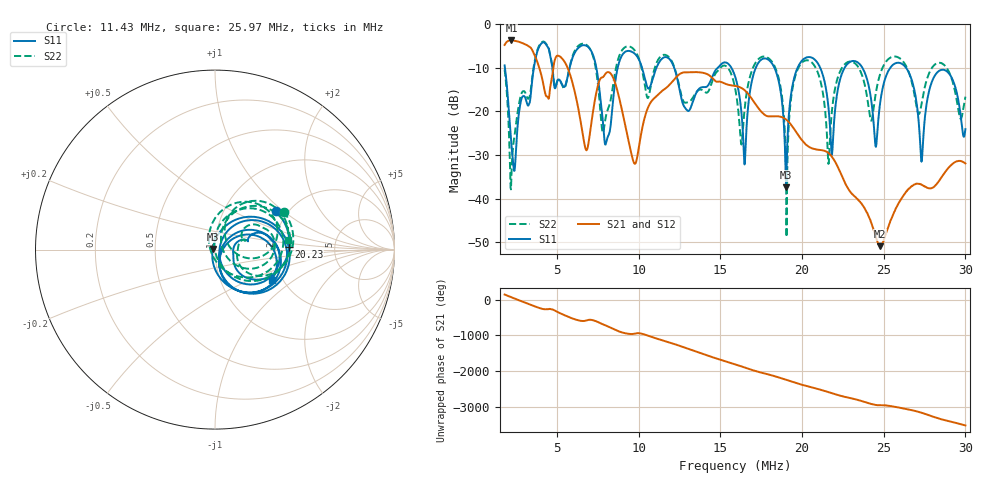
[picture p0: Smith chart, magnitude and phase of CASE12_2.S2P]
!Agilent Technologies,E5061B,MY49101568,A.02.00
!Date: Fri Mar 03 16:35:11 2023
!Data & Calibration Information:
!Freq	S11:SOLT2(ON)	S21:SOLT2(ON)	S12:SOLT2(ON)	S22:SOLT2(ON)
# Hz S dB R 50
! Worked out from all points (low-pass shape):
!   1155 points, 1.8 MHz to 30 MHz, reference 50 ohm
!   highest |S21| = -3.75 dB at 2.215 MHz (marker M1); lowest = -50.9 dB at 24.77 MHz (marker M2)
!   |S21| within 3 dB of the highest: start of sweep to 3.591 MHz
!   lowest |S11| = -37.4 dB at 19.03 MHz (marker M3), VSWR 1.03, Z = 48.7 + j0.407 ohm
!   |S11| at or under -10 dB: 1.82 MHz to 3.59 MHz (1.77 MHz wide, 65.5 % of centre); 12.18 MHz to 14.85 MHz (2.673 MHz wide, 19.8 % of centre); 26.37 MHz to end of sweep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
!   |S22| runs from -48.8 to -4.0 dB; largest |S21 - S12| = 0.0026
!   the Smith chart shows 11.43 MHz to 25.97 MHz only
!   S11 on the Smith chart (normalised r, x): 11.43 MHz: 1.73, +0.89; 20.23 MHz: 2.39, +0.08; 25.97 MHz: 1.77, -0.68
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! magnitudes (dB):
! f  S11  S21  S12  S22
! 1.8 MHz  -9.5  -4.8  -4.8  -10.4
! 2.215 MHz  -27.7  -3.8  -3.8  -34.8
! 3.95 MHz  -4.9  -10.4  -10.4  -4.7
! 6.516 MHz  -4.9  -23.8  -23.8  -4.5
! 8.007 MHz  -27.3  -11.2  -11.2  -21.0
! 9.742 MHz  -6.7  -31.9  -31.9  -5.9
! 11.21 MHz  -9.1  -16.1  -16.2  -8.1
! 11.43 MHz  -7.9  -15.3  -15.4  -7.2
! 15.9 MHz  -11.9  -14.2  -14.2  -14.6
! 16.49 MHz  -32.1  -15.1  -15.1  -19.6
! 18.17 MHz  -9.1  -21.1  -21.1  -8.7
! 19.03 MHz  -37.4  -21.9  -21.8  -35.7
! 20.23 MHz  -7.7  -27.6  -27.6  -8.3
! 20.62 MHz  -7.7  -28.5  -28.5  -8.9
! 21.62 MHz  -19.0  -29.5  -29.5  -32.0
! 22.52 MHz  -10.6  -35.5  -35.5  -9.6
! 24.77 MHz  -18.4  -50.9  -50.8  -11.6
! 25.31 MHz  -10.6  -46.2  -46.2  -7.9
! 25.97 MHz  -8.9  -40.7  -40.6  -7.8
! 27.31 MHz  -31.5  -36.8  -36.8  -18.4
! 28.48 MHz  -10.5  -35.4  -35.4  -8.9
! 30 MHz  -24.1  -31.9  -31.8  -16.6
